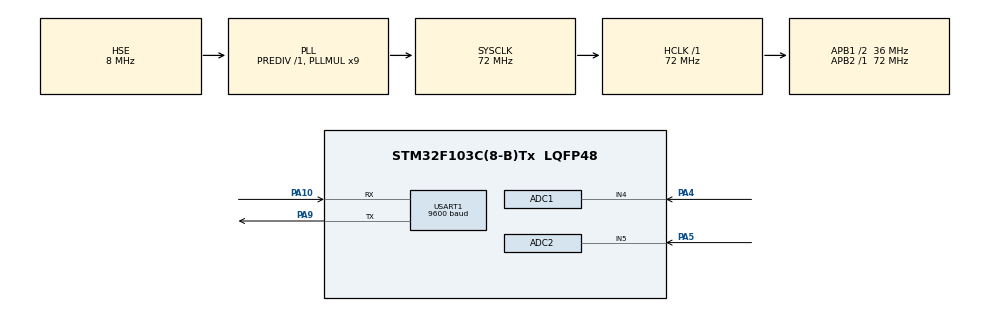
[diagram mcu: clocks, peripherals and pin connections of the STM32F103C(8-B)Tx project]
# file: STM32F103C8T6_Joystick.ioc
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ADC1.Channel-1\#ChannelRegularConversion=ADC_CHANNEL_4
ADC1.ContinuousConvMode=ENABLE
ADC1.NbrOfConversionFlag=1
ADC1.Rank-1\#ChannelRegularConversion=1
ADC1.SamplingTime-1\#ChannelRegularConversion=ADC_SAMPLETIME_239CYCLES_5
ADC1.master=1
ADC2.Channel-0\#ChannelRegularConversion=ADC_CHANNEL_5
ADC2.ContinuousConvMode=ENABLE
ADC2.NbrOfConversionFlag=1
ADC2.Rank-0\#ChannelRegularConversion=1
ADC2.SamplingTime-0\#ChannelRegularConversion=ADC_SAMPLETIME_239CYCLES_5
Dma.ADC1.0.Direction=DMA_PERIPH_TO_MEMORY
Dma.ADC1.0.Instance=DMA1_Channel1
Dma.ADC1.0.MemDataAlignment=DMA_MDATAALIGN_HALFWORD
Dma.ADC1.0.MemInc=DMA_MINC_ENABLE
Dma.ADC1.0.Mode=DMA_CIRCULAR
Dma.ADC1.0.PeriphDataAlignment=DMA_PDATAALIGN_HALFWORD
Dma.ADC1.0.PeriphInc=DMA_PINC_DISABLE
Dma.ADC1.0.Priority=DMA_PRIORITY_LOW
Dma.Request0=ADC1
Dma.Request1=USART1_RX
Dma.Request2=USART1_TX
Dma.USART1_RX.1.Direction=DMA_PERIPH_TO_MEMORY
Dma.USART1_RX.1.Instance=DMA1_Channel5
Dma.USART1_RX.1.MemDataAlignment=DMA_MDATAALIGN_BYTE
Dma.USART1_RX.1.MemInc=DMA_MINC_ENABLE
Dma.USART1_RX.1.Mode=DMA_CIRCULAR
Dma.USART1_RX.1.PeriphDataAlignment=DMA_PDATAALIGN_BYTE
Dma.USART1_RX.1.PeriphInc=DMA_PINC_DISABLE
Dma.USART1_RX.1.Priority=DMA_PRIORITY_LOW
Dma.USART1_TX.2.Direction=DMA_MEMORY_TO_PERIPH
Dma.USART1_TX.2.Instance=DMA1_Channel4
Dma.USART1_TX.2.MemDataAlignment=DMA_MDATAALIGN_BYTE
Dma.USART1_TX.2.MemInc=DMA_MINC_ENABLE
Dma.USART1_TX.2.Mode=DMA_CIRCULAR
Dma.USART1_TX.2.PeriphDataAlignment=DMA_PDATAALIGN_BYTE
Dma.USART1_TX.2.PeriphInc=DMA_PINC_DISABLE
Dma.USART1_TX.2.Priority=DMA_PRIORITY_LOW
Mcu.Family=STM32F1
Mcu.Name=STM32F103C(8-B)Tx
Mcu.Package=LQFP48
NVIC.DMA1_Channel1_IRQn=true\:0\:0\:false\:false\:true\:false\:true\:true
NVIC.DMA1_Channel4_IRQn=true\:0\:0\:false\:false\:true\:false\:true\:true
NVIC.DMA1_Channel5_IRQn=true\:0\:0\:false\:false\:true\:false\:true\:true
NVIC.PriorityGroup=NVIC_PRIORITYGROUP_4
NVIC.USART1_IRQn=true\:0\:0\:false\:false\:true\:true\:true\:true
PA10.Mode=Asynchronous
PA10.Signal=USART1_RX
PA13.Mode=Serial_Wire
PA13.Signal=SYS_JTMS-SWDIO
PA14.Mode=Serial_Wire
PA14.Signal=SYS_JTCK-SWCLK
PA4.Signal=ADCx_IN4
PA5.Signal=ADCx_IN5
PA9.Mode=Asynchronous
PA9.Signal=USART1_TX
PD0-OSC_IN.Mode=HSE-External-Oscillator
PD0-OSC_IN.Signal=RCC_OSC_IN
PD1-OSC_OUT.Mode=HSE-External-Oscillator
PD1-OSC_OUT.Signal=RCC_OSC_OUT
ProjectManager.HeapSize=0x200
ProjectManager.StackSize=0x400
ProjectManager.TargetToolchain=STM32CubeIDE
RCC.ADCPresc=RCC_ADCPCLK2_DIV8
RCC.AHBFreq_Value=72000000
RCC.APB1CLKDivider=RCC_HCLK_DIV2
RCC.APB1Freq_Value=36000000
RCC.APB1TimFreq_Value=72000000
RCC.APB2Freq_Value=72000000
RCC.APB2TimFreq_Value=72000000
RCC.HCLKFreq_Value=72000000
RCC.PLLMUL=RCC_PLL_MUL9
RCC.PLLSourceVirtual=RCC_PLLSOURCE_HSE
RCC.SYSCLKFreq_VALUE=72000000
RCC.SYSCLKSource=RCC_SYSCLKSOURCE_PLLCLK
RCC.USBFreq_Value=72000000
SH.ADCx_IN4.0=ADC1_IN4,IN4
SH.ADCx_IN5.0=ADC2_IN5,IN5
USART1.BaudRate=9600
USART1.VirtualMode=VM_ASYNC
board=custom

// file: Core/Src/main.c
/* USER CODE BEGIN Header */
/**
  ******************************************************************************
  * @file           : main.c
  * @brief          : Main program body
  ******************************************************************************
  * @attention
  *
  * Copyright (c) 2024 STMicroelectronics.
  * All rights reserved.
  *
  * This software is licensed under terms that can be found in the LICENSE file
  * in the root directory of this software component.
  * If no LICENSE file comes with this software, it is provided AS-IS.
  *
  ******************************************************************************
  */
/* USER CODE END Header */
#include "main.h"
#include "adc.h"
#include "dma.h"
#include "usart.h"
#include "gpio.h"

/* USER CODE BEGIN PV */

volatile uint16_t adcValue_Speed[1];
volatile uint16_t adcValue_Direction[1];

uint8_t transmit_data [1];

/* USER CODE END PV */

void SystemClock_Config(void);
/* USER CODE BEGIN PFP */
void HAL_ADC_ConvCpltCallback(ADC_HandleTypeDef *hadc) {
	adcValue_Direction[0] = HAL_ADC_GetValue(&hadc2);
}

void HAL_UART_RxCpltCallback(UART_HandleTypeDef *huart) {
	HAL_UART_Transmit_IT(&huart1, transmit_data, 1);
}

/* USER CODE END PFP */

int main(void)
{

  /* MCU Configuration--------------------------------------------------------*/

  /* Reset of all peripherals, Initializes the Flash interface and the Systick. */
  HAL_Init();

  /* Configure the system clock */
  SystemClock_Config();

  /* Initialize all configured peripherals */
  MX_GPIO_Init();
  MX_DMA_Init();
  MX_ADC1_Init();
  MX_ADC2_Init();
  MX_USART1_UART_Init();
  /* USER CODE BEGIN 2 */
  HAL_ADC_Start_DMA(&hadc1, adcValue_Speed, 1);
  HAL_ADC_Start_IT(&hadc2);

  /* USER CODE END 2 */

  /* Infinite loop */
  /* USER CODE BEGIN WHILE */
  uint8_t car_control;

  uint8_t forward_stop_backward;
  uint8_t left_straight_right;

  while (1)
  {
	HAL_UART_Transmit(&huart1, transmit_data, 1, 100);

	if(adcValue_Speed[0] > 3500) forward_stop_backward = 2;
	else if(adcValue_Speed[0] < 1000) forward_stop_backward = 0;
	else forward_stop_backward = 1;

	if(adcValue_Direction[0] > 3500) left_straight_right = 2;
	else if(adcValue_Direction[0] < 1000) left_straight_right = 0;
	else left_straight_right = 1;

	if(forward_stop_backward == 2 && left_straight_right == 2)
		transmit_data[0] = 'A';
	else if(forward_stop_backward == 2 && left_straight_right == 1)
		transmit_data[0] = 'B';
	else if(forward_stop_backward == 2 && left_straight_right == 0)
		transmit_data[0] = 'C';
	else if(forward_stop_backward == 1 && left_straight_right == 2)
		transmit_data[0] = 'D';
	else if(forward_stop_backward == 1 && left_straight_right == 1)
		transmit_data[0] = 'E';
	else if(forward_stop_backward == 1 && left_straight_right == 0)
		transmit_data[0] = 'F';
	else if(forward_stop_backward == 0 && left_straight_right == 2)
		transmit_data[0] = 'G';
	else if(forward_stop_backward == 0 && left_straight_right == 1)
		transmit_data[0] = 'H';
	else if(forward_stop_backward == 0 && left_straight_right == 0)
		transmit_data[0] = 'I';
    /* USER CODE END WHILE */

  }
}

void SystemClock_Config(void)
{
  RCC_OscInitTypeDef RCC_OscInitStruct = {0};
  RCC_ClkInitTypeDef RCC_ClkInitStruct = {0};
  RCC_PeriphCLKInitTypeDef PeriphClkInit = {0};

  /** Initializes the RCC Oscillators according to the specified parameters
  * in the RCC_OscInitTypeDef structure.
  */
  RCC_OscInitStruct.OscillatorType = RCC_OSCILLATORTYPE_HSE;
  RCC_OscInitStruct.HSEState = RCC_HSE_ON;
  RCC_OscInitStruct.HSEPredivValue = RCC_HSE_PREDIV_DIV1;
  RCC_OscInitStruct.HSIState = RCC_HSI_ON;
  RCC_OscInitStruct.PLL.PLLState = RCC_PLL_ON;
  RCC_OscInitStruct.PLL.PLLSource = RCC_PLLSOURCE_HSE;
  RCC_OscInitStruct.PLL.PLLMUL = RCC_PLL_MUL9;
  if (HAL_RCC_OscConfig(&RCC_OscInitStruct) != HAL_OK)
  {
    Error_Handler();
  }

  /** Initializes the CPU, AHB and APB buses clocks
  */
  RCC_ClkInitStruct.ClockType = RCC_CLOCKTYPE_HCLK|RCC_CLOCKTYPE_SYSCLK
                              |RCC_CLOCKTYPE_PCLK1|RCC_CLOCKTYPE_PCLK2;
  RCC_ClkInitStruct.SYSCLKSource = RCC_SYSCLKSOURCE_PLLCLK;
  RCC_ClkInitStruct.AHBCLKDivider = RCC_SYSCLK_DIV1;
  RCC_ClkInitStruct.APB1CLKDivider = RCC_HCLK_DIV2;
  RCC_ClkInitStruct.APB2CLKDivider = RCC_HCLK_DIV1;

  if (HAL_RCC_ClockConfig(&RCC_ClkInitStruct, FLASH_LATENCY_2) != HAL_OK)
  {
    Error_Handler();
  }
  PeriphClkInit.PeriphClockSelection = RCC_PERIPHCLK_ADC;
  PeriphClkInit.AdcClockSelection = RCC_ADCPCLK2_DIV8;
  if (HAL_RCCEx_PeriphCLKConfig(&PeriphClkInit) != HAL_OK)
  {
    Error_Handler();
  }
}

void Error_Handler(void)
{
  __disable_irq();
  while (1)
  {
  }
}
